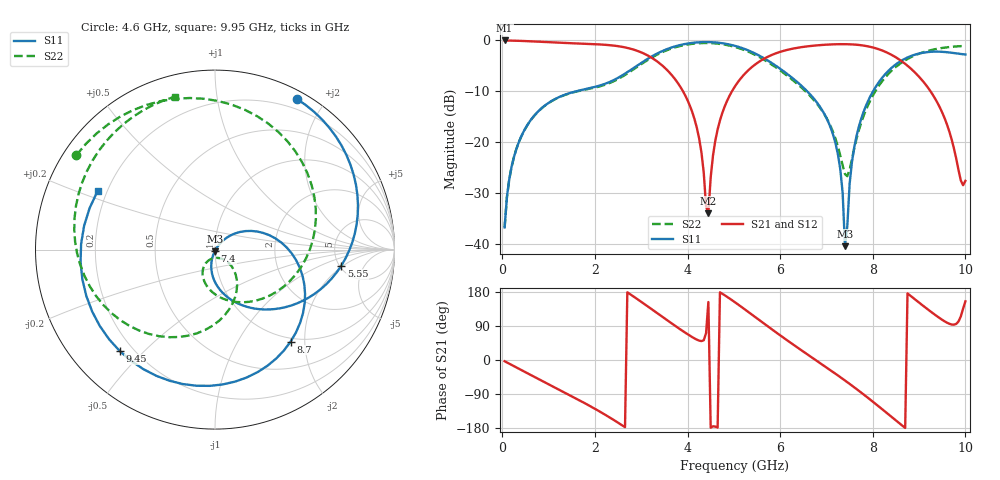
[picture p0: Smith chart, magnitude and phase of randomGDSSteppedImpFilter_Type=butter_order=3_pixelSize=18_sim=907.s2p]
! freq	dB(S11)	phase(S11)	dB(S12)	phase(S12)
!  dB(S21)	phase(S21)	dB(S22)	phase(S22)
!S-par simulation data
#  GHz  S  DB  R 50
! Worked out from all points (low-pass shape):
!   200 points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, 50 MHz to 10 GHz, reference 50 ohm
!   highest |S21| = -0.01 dB at 50 MHz (marker M1); lowest = -33.9 dB at 4.45 GHz (marker M2)
!   |S21| within 3 dB of the highest: start of sweep to 3.152 GHz; 5.78 GHz to 8.44 GHz (2.661 GHz wide, 37.4 % of centre)
!   lowest |S11| = -40.4 dB at 7.4 GHz (marker M3), VSWR 1.02, Z = 50 - j0.957 ohm
!   |S11| at or under -10 dB: start of sweep to 1.586 GHz; 6.586 GHz to 8.005 GHz (1.42 GHz wide, 19.5 % of centre)
!   |S22| runs from -36.7 to -0.5 dB; largest |S21 - S12| = 0
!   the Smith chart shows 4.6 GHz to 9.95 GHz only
!   S11 on the Smith chart (normalised r, x): 4.6 GHz: 0.09, +1.68; 5.55 GHz: 5.16, -1.88; 7.4 GHz: 1.00, -0.02; 8.7 GHz: 0.93, -1.72; 9.45 GHz: 0.15, -0.42; 9.95 GHz: 0.16, +0.23
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0.05  -36.70 -92.3  -0.01 -3.3  -0.01 -3.3  -36.71 -93.6
0.2  -24.83 -100.5  -0.04 -13.0  -0.04 -13.0  -24.84 -105.7
0.5  -17.23 -116.1  -0.13 -32.2  -0.13 -32.2  -17.25 -129.3
1.75  -9.64 -166.1  -0.64 -111.9  -0.64 -111.9  -9.74 121.3
2.8  -5.63 172.6  -1.70 170.5  -1.70 170.5  -5.88 -13.8
3.4  -2.32 143.6  -4.51 118.8  -4.51 118.8  -2.53 -89.1
4.1  -0.48 97.2  -14.01 60.5  -14.01 60.5  -0.67 -164.2
4.45  -0.33 72.3  -33.91 152.9  -33.91 152.9  -0.52 160.7
4.6  -0.40 61.4  -19.66 -175.8  -19.66 -175.8  -0.59 145.7
5.05  -1.13 28.4  -8.67 150.2  -8.67 150.2  -1.35 99.5
5.55  -2.99 -7.4  -4.15 105.3  -4.15 105.3  -3.26 45.0
6.1  -6.22 -42.0  -1.98 56.4  -1.98 56.4  -6.56 -17.4
6.7  -11.12 -74.6  -1.05 5.5  -1.05 5.5  -11.41 -83.4
7.2  -20.37 -102.6  -0.75 -36.6  -0.75 -36.6  -19.44 -124.0
7.35  -29.98 -108.9  -0.73 -49.7  -0.73 -49.7  -24.56 -115.0
7.4  -40.38 -90.4  -0.73 -54.1  -0.73 -54.1  -26.22 -101.1
7.65  -18.73 42.6  -0.84 -76.6  -0.84 -76.6  -19.28 -44.2
8.35  -5.86 -16.7  -2.57 -144.5  -2.57 -144.5  -6.44 -102.0
8.7  -3.56 -50.6  -4.60 -179.3  -4.60 -179.3  -3.90 -138.3
9.45  -2.21 -133.3  -13.19 110.0  -13.19 110.0  -1.55 148.6
9.95  -2.72 153.5  -28.41 135.3  -28.41 135.3  -1.10 104.7
10  -2.77 145.2  -27.57 154.8  -27.57 154.8  -1.08 100.5
